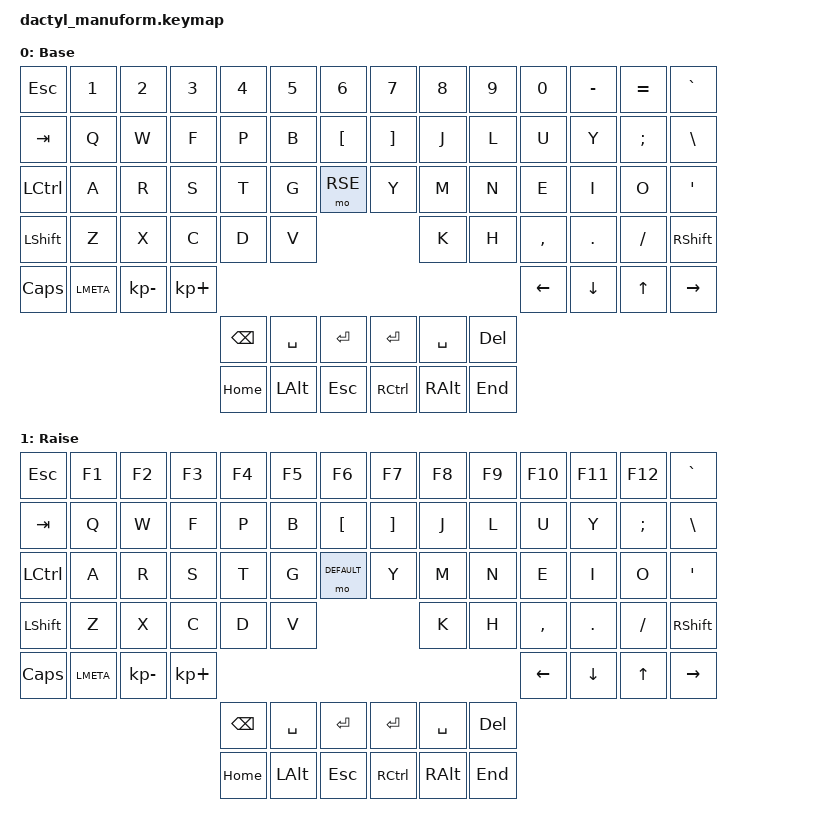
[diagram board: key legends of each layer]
#include <behaviors.dtsi>
#include <dt-bindings/zmk/keys.h>

#define DEFAULT 0
#define RSE 1

/ {
    keymap {
        compatible = "zmk,keymap";

        default_layer { // Layer 0
            // -------------------------------------
            // |    ESC    |     1     |     2     |     3     |     4     |     5     |     6     | || |     7     |     8     |     9     |     0     |     -     |     =     |     `     |
            // |    TAB    |     Q     |     W     |     F     |     P     |     B     |     [     | || |     ]     |     J     |     L     |     U     |     Y     |     ;     |     \     |
            // | Left CTRL |     A     |     R     |     S     |     T     |     G     |     K     | || |     Z     |     M     |     N     |     E     |     I     |     O     |     '     |
            // |   L Shift |     Z     |     X     |     C     |     D     |     V     |             ||             |     K     |     H     |     ,     |     .     |     /     |  R Shift  |
            // | Caps Lock | Left Meta |     -     |     +     |                                     ||                                     |     ⭠     |     ⭣     |     ⭡     |     ⭢     |
            //                                                 |     K     |     M     |     K     | || |     Z     |     M     |     K     |                                                
            //                                                 |     K     |     M     |     K     | || |     Z     |     M     |     K     |                                                
            display-name = "Base";
            bindings = <
                &kp ESC   &kp N1    &kp N2    &kp N3    &kp N4    &kp N5    &kp N6       &kp N7    &kp N8    &kp N9    &kp N0    &kp MINUS &kp EQUAL &kp GRAVE
                &kp TAB   &kp Q     &kp W     &kp F     &kp P     &kp B     &kp LBKT     &kp RBKT  &kp J     &kp L     &kp U     &kp Y     &kp SEMI  &kp BSLH
                &kp LCTRL &kp A     &kp R     &kp S     &kp T     &kp G     &mo RSE        &kp Y     &kp M     &kp N     &kp E     &kp I     &kp O     &kp SQT
                &kp LSHFT &kp Z     &kp X     &kp C     &kp D     &kp V                            &kp K     &kp H     &kp COMMA &kp DOT   &kp SLASH &kp RSHFT
                &kp CAPS  &kp LMETA &kp KP_MINUS &kp KP_PLUS                                                           &kp LEFT  &kp DOWN  &kp UP    &kp RIGHT
                                                        &kp BSPC  &kp SPACE &kp ENTER    &kp ENTER &kp SPACE &kp DEL
                                                        &kp HOME  &kp LALT  &kp ESC      &kp RCTRL &kp RALT  &kp END
            >;
        };

        raise_layer { // Layer 1
            // -------------------------------------
            // |    ESC    |     F1    |     F2    |     F3    |     F4    |     F5    |     F6    | || |     F7    |     F8    |     F9    |    F10    |    F11    |    F12    |     `     |
            // |    TAB    |     Q     |     W     |     F     |     P     |     B     |     [     | || |     ]     |     J     |     L     |     U     |     Y     |     ;     |     \     |
            // | Left CTRL |     A     |     R     |     S     |     T     |     G     |     K     | || |     Z     |     M     |     N     |     E     |     I     |     O     |     '     |
            // |   L Shift |     Z     |     X     |     C     |     D     |     V     |             ||             |     K     |     H     |     ,     |     .     |     /     |  R Shift  |
            // | Caps Lock | Left Meta |     -     |     +     |                                     ||                                     |     ⭠     |     ⭣     |     ⭡     |     ⭢     |
            //                                                 |     K     |     M     |     K     | || |     Z     |     M     |     K     |                                                
            //                                                 |     K     |     M     |     K     | || |     Z     |     M     |     K     |                                                
            display-name = "Raise";
            bindings = <
                &kp ESC   &kp F1    &kp F2    &kp F3    &kp F4    &kp F5    &kp F6       &kp F7    &kp F8    &kp F9    &kp F10   &kp F11   &kp F12   &kp GRAVE
                &kp TAB   &kp Q     &kp W     &kp F     &kp P     &kp B     &kp LBKT     &kp RBKT  &kp J     &kp L     &kp U     &kp Y     &kp SEMI  &kp BSLH
                &kp LCTRL &kp A     &kp R     &kp S     &kp T     &kp G     &mo DEFAULT  &kp Y     &kp M     &kp N     &kp E     &kp I     &kp O     &kp SQT
                &kp LSHFT &kp Z     &kp X     &kp C     &kp D     &kp V                            &kp K     &kp H     &kp COMMA &kp DOT   &kp SLASH &kp RSHFT
                &kp CAPS  &kp LMETA &kp KP_MINUS &kp KP_PLUS                                                           &kp LEFT  &kp DOWN  &kp UP    &kp RIGHT
                                                        &kp BSPC  &kp SPACE &kp ENTER    &kp ENTER &kp SPACE &kp DEL
                                                        &kp HOME  &kp LALT  &kp ESC      &kp RCTRL &kp RALT  &kp END
            >;
        };
        
        /* template_layer { // Layer N */
            /* // ------------------------------------- */
            /* // |    ESC    |     1     |     2     |     3     |     4     |     5     |     6     | || |     7     |     8     |     9     |     0     |     -     |     =     |     `     | */
            /* // |    TAB    |     Q     |     W     |     F     |     P     |     B     |     [     | || |     ]     |     J     |     L     |     U     |     Y     |     ;     |     \     | */
            /* // | Left CTRL |     A     |     R     |     S     |     T     |     G     |     K     | || |     Z     |     M     |     N     |     E     |     I     |     O     |     '     | */
            /* // |   L Shift |     Z     |     X     |     C     |     D     |     V     |             ||             |     K     |     H     |     ,     |     .     |     /     |  R Shift  | */
            /* // | Caps Lock | Left Meta |     -     |     +     |                                     ||                                     |     ⭠     |     ⭣     |     ⭡     |     ⭢     | */
            /* //                                                 |     K     |     M     |     K     | || |     Z     |     M     |     K     |                                                 */
            /* //                                                 |     K     |     M     |     K     | || |     Z     |     M     |     K     |                                                 */
            /* display-name = "Template"; */
            /* bindings = < */
            /*     &kp ESC   &kp N1    &kp N2    &kp N3    &kp N4    &kp N5    &kp N6       &kp N7    &kp N8    &kp N9    &kp N0    &kp MINUS &kp EQUAL &kp GRAVE */
            /*     &kp TAB   &kp Q     &kp W     &kp F     &kp P     &kp B     &kp LBKT     &kp RBKT  &kp J     &kp L     &kp U     &kp Y     &kp SEMI  &kp BSLH */
            /*     &kp LCTRL &kp A     &kp R     &kp S     &kp T     &kp G     &mo 2        &kp Y     &kp M     &kp N     &kp E     &kp I     &kp O     &kp SQT */
            /*     &kp LSHFT &kp Z     &kp X     &kp C     &kp D     &kp V                            &kp K     &kp H     &kp COMMA &kp DOT   &kp SLASH &kp RSHFT */
            /*     &kp CAPS  &kp LMETA &kp KP_MINUS &kp KP_PLUS                                                           &kp LEFT  &kp DOWN  &kp UP    &kp RIGHT */
            /*                                             &kp BSPC  &kp SPACE &kp ENTER    &kp ENTER &kp SPACE &kp DEL */
            /*                                             &kp HOME  &kp LALT  &kp ESC      &kp RCTRL &kp RALT  &kp END */
            /* >; */
        /* }; */
    };
 };

